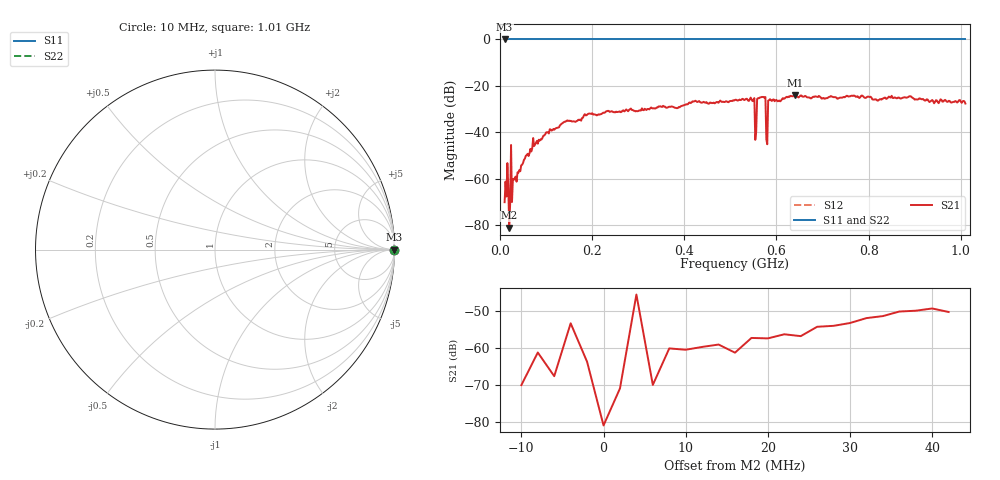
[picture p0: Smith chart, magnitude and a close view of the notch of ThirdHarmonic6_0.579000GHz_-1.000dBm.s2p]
! 8/15/2025 6:41:43 PM
! C:\ANRITSUVNA\TEMP\TEMP.S2P
! CHANNEL.1
! TR.MEASUREMENT
! RAW.DATA
! RF.CORRECTION.OFF
! AVERAGING.OFF
! IF.BANDWIDTH: 5KHZ
! SWEEPTYPE:  FREQ.SWEEP(Linear)
! Reference Plane Port Info
! PORT:  PORT1  PORT2
! DISTANCE:  0  m  0  m
! TIME:  0  s  0  s
! PHASE.OFFSET:  0  deg.  0  deg.
! LOSS:  0  dB  0  dB
! REF.LOSS:  0  dB  0  dB
! REF.FREQ:  0  Hz  0  Hz
! Power Info
! POWER:  -20  dBm  -20  dBm
! EFF.POWER:  -20  dBm  -20  dBm
! SOURCE.ATTEN:  0  dB  0  dB
! TEST.ATTEN:  0  dB  0  dB
# GHZ S RI R 50.0
! FREQ.GHZ  S11RE  S11IM  S21RE  S21IM  S12RE  S12IM  S22RE  S22IM
!; PortSelection: Port_12
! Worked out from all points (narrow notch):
!   501 points, 10 MHz to 1.01 GHz, reference 50 ohm
!   highest |S21| = -24.15 dB at 640 MHz (marker M1); lowest = -81.0 dB at 20 MHz (marker M2)
!   notch at M2: 54.1 dB deep, 7.21 MHz wide at half that depth
!   lowest |S11| = 0.0 dB at 10 MHz (marker M3)
!   |S11| at or under -10 dB: nowhere
!   |S22| runs from 0.0 to 0.0 dB; largest |S21 - S12| = 1.1
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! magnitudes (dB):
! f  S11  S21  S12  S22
! 10 MHz  0.0  -70.1  0.0  0.0
! 14 MHz  0.0  -67.7  0.0  0.0
! 18 MHz  0.0  -63.8  0.0  0.0
! 20 MHz  0.0  -81.0  0.0  0.0
! 22 MHz  0.0  -71.0  0.0  0.0
! 28 MHz  0.0  -60.1  0.0  0.0
! 30 MHz  0.0  -60.5  0.0  0.0
! 76 MHz  0.0  -45.4  0.0  0.0
! 178 MHz  0.0  -33.9  0.0  0.0
! 344 MHz  0.0  -28.9  0.0  0.0
! 510 MHz  0.0  -26.1  0.0  0.0
! 548 MHz  0.0  -26.6  0.0  0.0
! 552 MHz  0.0  -25.3  0.0  0.0
! 562 MHz  0.0  -25.4  0.0  0.0
! 572 MHz  0.0  -24.9  0.0  0.0
! 576 MHz  0.0  -24.9  0.0  0.0
! 582 MHz  0.0  -26.5  0.0  0.0
! 586 MHz  0.0  -25.8  0.0  0.0
! 640 MHz  0.0  -24.2  0.0  0.0
! 678 MHz  0.0  -25.0  0.0  0.0
! 844 MHz  0.0  -24.7  0.0  0.0
! 1.01 GHz  0.0  -27.7  0.0  0.0
